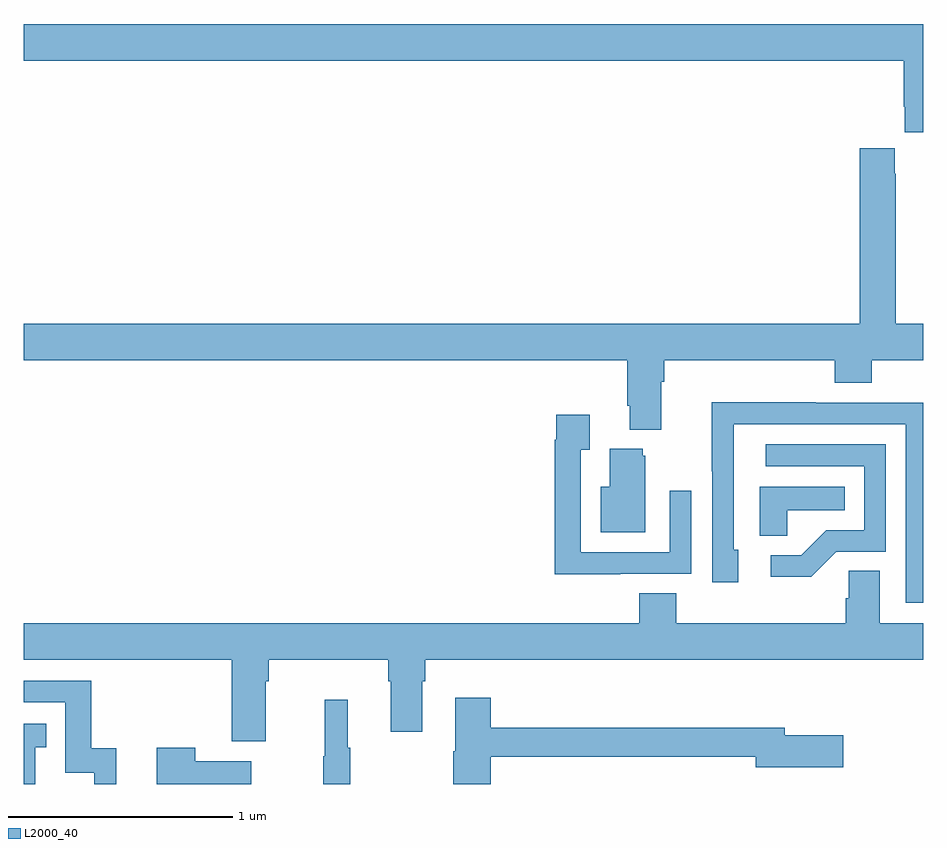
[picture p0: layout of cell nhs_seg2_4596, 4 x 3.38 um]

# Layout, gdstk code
import gdstk
lib = gdstk.Library(unit=1e-6, precision=1e-09)
def P(c, l, *ps):  # polygons
    for p in ps: c.add(gdstk.Polygon(p, *l))
L2000_40 = (2000, 40)

nhs_seg2_4596 = lib.new_cell('nhs_seg2_4596')
P(nhs_seg2_4596, L2000_40, [(365,601.18),(361,601.18),(361,601.016),(364.913,601.016),(364.913,600.811),(364.919,600.811),(364.919,600.699),(365,600.699)],
  [(363.835,599.588),(363.848,599.588),(363.848,599.684),(364.607,599.684),(364.607,599.585),(364.772,599.585),(364.772,599.684),(365,599.684),(365,599.848),(364.878,599.848),(364.878,600.515),(364.873,600.515),(364.873,600.628),(364.718,600.628),(364.718,599.848),(361,599.848),(361,599.684),(363.683,599.684),(363.683,599.482),(363.695,599.482),(363.695,599.375),(363.835,599.375)],
  [(365,599.496),(364.523,599.496),(364.523,599.498),(364.06,599.498),(364.06,599.191),(364.062,599.191),(364.062,598.698),(364.177,598.698),(364.177,598.842),(364.158,598.842),(364.158,599.4),(364.923,599.4),(364.923,598.605),(365,598.605)],
  [(363.653,598.734),(363.969,598.734),(363.969,599.104),(363.873,599.104),(363.873,598.83),(363.477,598.83),(363.477,599.287),(363.517,599.287),(363.517,599.443),(363.369,599.443),(363.369,599.33),(363.361,599.33),(363.361,598.733),(363.653,598.733)],
  [(364.614,598.833),(364.833,598.833),(364.833,599.31),(364.299,599.31),(364.299,599.214),(364.737,599.214),(364.737,598.929),(364.568,598.929),(364.457,598.818),(364.323,598.818),(364.323,598.721),(364.501,598.721)],
  [(363.763,599.259),(363.752,599.259),(363.752,599.29),(363.605,599.29),(363.605,599.122),(363.566,599.122),(363.566,598.919),(363.763,598.919)],
  [(364.395,599.018),(364.652,599.018),(364.652,599.122),(364.274,599.122),(364.274,598.903),(364.395,598.903)],
  [(362.077,598.256),(362.09,598.256),(362.09,598.352),(362.621,598.352),(362.621,598.256),(362.633,598.256),(362.633,598.032),(362.773,598.032),(362.773,598.256),(362.786,598.256),(362.786,598.352),(365,598.352),(365,598.516),(364.807,598.516),(364.807,598.748),(364.668,598.748),(364.668,598.625),(364.655,598.625),(364.655,598.516),(363.902,598.516),(363.902,598.649),(363.737,598.649),(363.737,598.516),(361,598.516),(361,598.352),(361.925,598.352),(361.925,597.99),(362.077,597.99)],
  [(361.412,597.958),(361.301,597.958),(361.301,598.26),(361,598.26),(361,598.164),(361.185,598.164),(361.185,597.849),(361.314,597.849),(361.314,597.8),(361.412,597.8)],
  [(363.077,597.922),(364.256,597.922),(364.256,597.875),(364.645,597.875),(364.645,598.017),(364.384,598.017),(364.384,598.051),(363.077,598.051),(363.077,598.183),(362.918,598.183),(362.918,597.945),(362.911,597.945),(362.911,597.8),(363.077,597.8)],
  [(362.452,597.961),(362.441,597.961),(362.441,598.174),(362.338,598.174),(362.338,597.924),(362.331,597.924),(362.331,597.8),(362.452,597.8)],
  [(361.051,597.963),(361.1,597.963),(361.1,598.069),(361,598.069),(361,597.8),(361.051,597.8)],
  [(362.011,597.901),(361.763,597.901),(361.763,597.961),(361.592,597.961),(361.592,597.8),(362.011,597.8)])

lib.write_gds('nhs_seg2_4596.gds')
